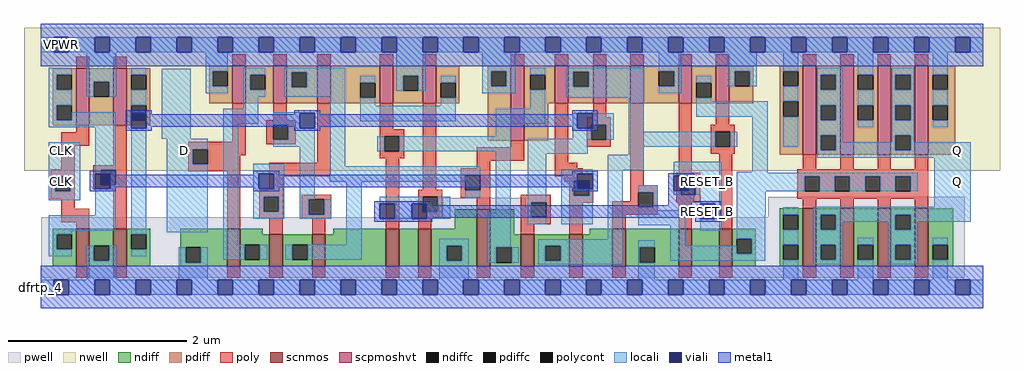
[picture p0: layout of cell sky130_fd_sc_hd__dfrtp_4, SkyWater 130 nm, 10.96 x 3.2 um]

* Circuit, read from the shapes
.subckt sky130_fd_sc_hd__dfrtp_4 VGND VPWR VPB VNB CLK D RESET_B Q
XM1 VGND CLK n1 VNB sky130_fd_pr__nfet_01v8 w=0.42 l=0.15
XM2 n2 n1 VGND VNB sky130_fd_pr__nfet_01v8 w=0.42 l=0.15
XM3 n3 D VGND VNB sky130_fd_pr__nfet_01v8 w=0.42 l=0.15
XM4 n4 n1 n3 VNB sky130_fd_pr__nfet_01v8 w=0.36 l=0.15
XM5 n5 n2 n4 VNB sky130_fd_pr__nfet_01v8 w=0.36 l=0.15
XM6 n6 n7 n5 VNB sky130_fd_pr__nfet_01v8 w=0.42 l=0.15
XM7 VGND RESET_B n6 VNB sky130_fd_pr__nfet_01v8 w=0.42 l=0.15
XM8 n7 n4 VGND VNB sky130_fd_pr__nfet_01v8 w=0.64 l=0.15
XM9 n8 n2 n7 VNB sky130_fd_pr__nfet_01v8 w=0.36 l=0.15
XM10 n9 n1 n8 VNB sky130_fd_pr__nfet_01v8 w=0.36 l=0.15
XM11 VGND n10 n9 VNB sky130_fd_pr__nfet_01v8 w=0.42 l=0.15
XM12 n11 RESET_B VGND VNB sky130_fd_pr__nfet_01v8 w=0.42 l=0.15
XM13 n10 n8 n11 VNB sky130_fd_pr__nfet_01v8 w=0.42 l=0.15
XM14 Q n10 VGND VNB sky130_fd_pr__nfet_01v8 w=0.65 l=0.15 m=4
XM15 VPWR CLK n1 VPB sky130_fd_pr__pfet_01v8_hvt w=0.64 l=0.15
XM16 n2 n1 VPWR VPB sky130_fd_pr__pfet_01v8_hvt w=0.64 l=0.15
XM17 n3 D VPWR VPB sky130_fd_pr__pfet_01v8_hvt w=0.42 l=0.15
XM18 n4 n2 n3 VPB sky130_fd_pr__pfet_01v8_hvt w=0.42 l=0.15
XM19 n12 n1 n4 VPB sky130_fd_pr__pfet_01v8_hvt w=0.42 l=0.15
XM20 VPWR n7 n12 VPB sky130_fd_pr__pfet_01v8_hvt w=0.42 l=0.15
XM21 n12 RESET_B VPWR VPB sky130_fd_pr__pfet_01v8_hvt w=0.42 l=0.15
XM22 n7 n4 VPWR VPB sky130_fd_pr__pfet_01v8_hvt w=0.84 l=0.15
XM23 n8 n1 n7 VPB sky130_fd_pr__pfet_01v8_hvt w=0.42 l=0.15
XM24 n13 n2 n8 VPB sky130_fd_pr__pfet_01v8_hvt w=0.42 l=0.15
XM25 VPWR n10 n13 VPB sky130_fd_pr__pfet_01v8_hvt w=0.42 l=0.15
XM26 n10 RESET_B VPWR VPB sky130_fd_pr__pfet_01v8_hvt w=0.42 l=0.15
XM27 VPWR n8 n10 VPB sky130_fd_pr__pfet_01v8_hvt w=0.42 l=0.15
XM28 Q n10 VPWR VPB sky130_fd_pr__pfet_01v8_hvt w=1 l=0.15 m=4
.ends

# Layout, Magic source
magic
tech sky130B
magscale 1 2
<< nwell >>
rect -38 221 2154 542
<< pwell >>
rect 903 117 1089 161
rect 1633 117 2075 163
rect 1 -19 2075 117
rect 29 -57 63 -19
<< scnmos >>
rect 79 7 109 91
rect 163 7 193 91
rect 418 7 448 91
rect 513 7 543 79
rect 609 7 639 79
rect 775 7 805 91
rect 847 7 877 91
rect 979 7 1009 135
rect 1078 7 1108 79
rect 1187 7 1217 79
rect 1283 7 1313 91
rect 1432 7 1462 91
rect 1523 7 1553 91
rect 1711 7 1741 137
rect 1795 7 1825 137
rect 1879 7 1909 137
rect 1963 7 1993 137
<< scpmoshvt >>
rect 79 323 109 451
rect 163 323 193 451
rect 430 373 460 457
rect 522 373 552 457
rect 621 373 651 457
rect 761 373 791 457
rect 858 373 888 457
rect 1055 289 1085 457
rect 1154 373 1184 457
rect 1240 373 1270 457
rect 1324 373 1354 457
rect 1432 373 1462 457
rect 1516 373 1546 457
rect 1711 257 1741 457
rect 1795 257 1825 457
rect 1879 257 1909 457
rect 1963 257 1993 457
<< ndiff >>
rect 27 79 79 91
rect 27 45 35 79
rect 69 45 79 79
rect 27 7 79 45
rect 109 53 163 91
rect 109 19 119 53
rect 153 19 163 53
rect 109 7 163 19
rect 193 79 245 91
rect 193 45 203 79
rect 237 45 245 79
rect 193 7 245 45
rect 313 49 418 91
rect 313 15 325 49
rect 359 15 418 49
rect 313 7 418 15
rect 448 79 498 91
rect 929 91 979 135
rect 657 79 775 91
rect 448 55 513 79
rect 448 21 458 55
rect 492 21 513 55
rect 448 7 513 21
rect 543 55 609 79
rect 543 21 565 55
rect 599 21 609 55
rect 543 7 609 21
rect 639 7 775 79
rect 805 7 847 91
rect 877 53 979 91
rect 877 19 911 53
rect 945 19 979 53
rect 877 7 979 19
rect 1009 79 1063 135
rect 1659 123 1711 137
rect 1233 79 1283 91
rect 1009 49 1078 79
rect 1009 15 1023 49
rect 1057 15 1078 49
rect 1009 7 1078 15
rect 1108 53 1187 79
rect 1108 19 1133 53
rect 1167 19 1187 53
rect 1108 7 1187 19
rect 1217 7 1283 79
rect 1313 49 1432 91
rect 1313 15 1345 49
rect 1379 15 1432 49
rect 1313 7 1432 15
rect 1462 7 1523 91
rect 1553 69 1605 91
rect 1553 35 1563 69
rect 1597 35 1605 69
rect 1553 7 1605 35
rect 1659 89 1667 123
rect 1701 89 1711 123
rect 1659 55 1711 89
rect 1659 21 1667 55
rect 1701 21 1711 55
rect 1659 7 1711 21
rect 1741 123 1795 137
rect 1741 89 1751 123
rect 1785 89 1795 123
rect 1741 55 1795 89
rect 1741 21 1751 55
rect 1785 21 1795 55
rect 1741 7 1795 21
rect 1825 55 1879 137
rect 1825 21 1835 55
rect 1869 21 1879 55
rect 1825 7 1879 21
rect 1909 123 1963 137
rect 1909 89 1919 123
rect 1953 89 1963 123
rect 1909 55 1963 89
rect 1909 21 1919 55
rect 1953 21 1963 55
rect 1909 7 1963 21
rect 1993 55 2049 137
rect 1993 21 2003 55
rect 2037 21 2049 55
rect 1993 7 2049 21
<< pdiff >>
rect 27 437 79 451
rect 27 403 35 437
rect 69 403 79 437
rect 27 369 79 403
rect 27 335 35 369
rect 69 335 79 369
rect 27 323 79 335
rect 109 421 163 451
rect 109 387 119 421
rect 153 387 163 421
rect 109 323 163 387
rect 193 437 245 451
rect 193 403 203 437
rect 237 403 245 437
rect 193 369 245 403
rect 378 445 430 457
rect 378 411 386 445
rect 420 411 430 445
rect 378 373 430 411
rect 460 437 522 457
rect 460 403 470 437
rect 504 403 522 437
rect 460 373 522 403
rect 552 443 621 457
rect 552 409 563 443
rect 597 409 621 443
rect 552 373 621 409
rect 651 419 761 457
rect 651 385 717 419
rect 751 385 761 419
rect 651 373 761 385
rect 791 435 858 457
rect 791 401 814 435
rect 848 401 858 435
rect 791 373 858 401
rect 888 419 940 457
rect 888 385 898 419
rect 932 385 940 419
rect 888 373 940 385
rect 1003 445 1055 457
rect 1003 411 1011 445
rect 1045 411 1055 445
rect 193 335 203 369
rect 237 335 245 369
rect 193 323 245 335
rect 1003 289 1055 411
rect 1085 437 1154 457
rect 1085 403 1099 437
rect 1133 403 1154 437
rect 1085 373 1154 403
rect 1184 444 1240 457
rect 1184 410 1196 444
rect 1230 410 1240 444
rect 1184 373 1240 410
rect 1270 373 1324 457
rect 1354 445 1432 457
rect 1354 411 1388 445
rect 1422 411 1432 445
rect 1354 373 1432 411
rect 1462 419 1516 457
rect 1462 385 1472 419
rect 1506 385 1516 419
rect 1462 373 1516 385
rect 1546 445 1600 457
rect 1546 411 1558 445
rect 1592 411 1600 445
rect 1546 373 1600 411
rect 1659 445 1711 457
rect 1659 411 1667 445
rect 1701 411 1711 445
rect 1659 377 1711 411
rect 1085 289 1139 373
rect 1659 343 1667 377
rect 1701 343 1711 377
rect 1659 257 1711 343
rect 1741 437 1795 457
rect 1741 403 1751 437
rect 1785 403 1795 437
rect 1741 369 1795 403
rect 1741 335 1751 369
rect 1785 335 1795 369
rect 1741 301 1795 335
rect 1741 267 1751 301
rect 1785 267 1795 301
rect 1741 257 1795 267
rect 1825 437 1879 457
rect 1825 403 1835 437
rect 1869 403 1879 437
rect 1825 369 1879 403
rect 1825 335 1835 369
rect 1869 335 1879 369
rect 1825 257 1879 335
rect 1909 437 1963 457
rect 1909 403 1919 437
rect 1953 403 1963 437
rect 1909 369 1963 403
rect 1909 335 1919 369
rect 1953 335 1963 369
rect 1909 301 1963 335
rect 1909 267 1919 301
rect 1953 267 1963 301
rect 1909 257 1963 267
rect 1993 437 2054 457
rect 1993 403 2003 437
rect 2037 403 2054 437
rect 1993 369 2054 403
rect 1993 335 2003 369
rect 2037 335 2054 369
rect 1993 257 2054 335
<< ndiffc >>
rect 35 45 69 79
rect 119 19 153 53
rect 203 45 237 79
rect 325 15 359 49
rect 458 21 492 55
rect 565 21 599 55
rect 911 19 945 53
rect 1023 15 1057 49
rect 1133 19 1167 53
rect 1345 15 1379 49
rect 1563 35 1597 69
rect 1667 89 1701 123
rect 1667 21 1701 55
rect 1751 89 1785 123
rect 1751 21 1785 55
rect 1835 21 1869 55
rect 1919 89 1953 123
rect 1919 21 1953 55
rect 2003 21 2037 55
<< pdiffc >>
rect 35 403 69 437
rect 35 335 69 369
rect 119 387 153 421
rect 203 403 237 437
rect 386 411 420 445
rect 470 403 504 437
rect 563 409 597 443
rect 717 385 751 419
rect 814 401 848 435
rect 898 385 932 419
rect 1011 411 1045 445
rect 203 335 237 369
rect 1099 403 1133 437
rect 1196 410 1230 444
rect 1388 411 1422 445
rect 1472 385 1506 419
rect 1558 411 1592 445
rect 1667 411 1701 445
rect 1667 343 1701 377
rect 1751 403 1785 437
rect 1751 335 1785 369
rect 1751 267 1785 301
rect 1835 403 1869 437
rect 1835 335 1869 369
rect 1919 403 1953 437
rect 1919 335 1953 369
rect 1919 267 1953 301
rect 2003 403 2037 437
rect 2003 335 2037 369
<< poly >>
rect 79 451 109 477
rect 163 451 193 477
rect 430 457 460 483
rect 522 457 552 483
rect 621 457 651 483
rect 761 457 791 483
rect 858 457 888 483
rect 1055 457 1085 483
rect 1154 457 1184 483
rect 1240 457 1270 483
rect 1324 457 1354 483
rect 1432 457 1462 483
rect 1516 457 1546 483
rect 1711 457 1741 483
rect 1795 457 1825 483
rect 1879 457 1909 483
rect 1963 457 1993 483
rect 79 308 109 323
rect 46 278 109 308
rect 46 225 76 278
rect 163 234 193 323
rect 430 286 460 373
rect 522 335 552 373
rect 22 209 76 225
rect 22 175 32 209
rect 66 175 76 209
rect 118 224 193 234
rect 118 190 134 224
rect 168 190 193 224
rect 331 270 460 286
rect 506 325 572 335
rect 506 291 522 325
rect 556 291 572 325
rect 506 281 572 291
rect 331 236 341 270
rect 375 256 460 270
rect 375 236 448 256
rect 621 239 651 373
rect 761 315 791 373
rect 761 299 816 315
rect 761 265 771 299
rect 805 265 816 299
rect 761 249 816 265
rect 331 220 448 236
rect 118 180 193 190
rect 22 159 76 175
rect 46 136 76 159
rect 46 106 109 136
rect 79 91 109 106
rect 163 91 193 180
rect 418 91 448 220
rect 513 209 651 239
rect 513 179 544 209
rect 490 163 544 179
rect 490 129 500 163
rect 534 129 544 163
rect 490 113 544 129
rect 586 157 652 167
rect 586 123 602 157
rect 636 123 652 157
rect 586 113 652 123
rect 513 79 543 113
rect 609 79 639 113
rect 775 91 805 249
rect 858 179 888 373
rect 1055 274 1085 289
rect 979 244 1085 274
rect 979 227 1009 244
rect 943 211 1009 227
rect 847 163 901 179
rect 847 129 857 163
rect 891 129 901 163
rect 943 177 953 211
rect 987 177 1009 211
rect 1154 239 1184 373
rect 1240 341 1270 373
rect 1226 325 1280 341
rect 1226 291 1236 325
rect 1270 291 1280 325
rect 1226 275 1280 291
rect 1154 227 1204 239
rect 1154 215 1217 227
rect 1154 209 1241 215
rect 1175 199 1241 209
rect 1175 197 1197 199
rect 943 161 1009 177
rect 979 135 1009 161
rect 1078 151 1145 167
rect 847 113 901 129
rect 847 91 877 113
rect 1078 117 1101 151
rect 1135 117 1145 151
rect 1078 101 1145 117
rect 1187 165 1197 197
rect 1231 165 1241 199
rect 1187 149 1241 165
rect 1324 189 1354 373
rect 1432 217 1462 373
rect 1516 325 1546 373
rect 1504 309 1558 325
rect 1504 275 1514 309
rect 1548 275 1558 309
rect 1504 259 1558 275
rect 1427 201 1481 217
rect 1324 173 1385 189
rect 1324 153 1341 173
rect 1078 79 1108 101
rect 1187 79 1217 149
rect 1283 139 1341 153
rect 1375 139 1385 173
rect 1427 167 1437 201
rect 1471 167 1481 201
rect 1427 151 1481 167
rect 1283 123 1385 139
rect 1283 91 1313 123
rect 1432 91 1462 151
rect 1523 91 1553 259
rect 1711 225 1741 257
rect 1795 225 1825 257
rect 1879 225 1909 257
rect 1963 225 1993 257
rect 1699 209 1993 225
rect 1699 175 1715 209
rect 1749 175 1783 209
rect 1817 175 1851 209
rect 1885 175 1919 209
rect 1953 175 1993 209
rect 1699 159 1993 175
rect 1711 137 1741 159
rect 1795 137 1825 159
rect 1879 137 1909 159
rect 1963 137 1993 159
rect 79 -19 109 7
rect 163 -19 193 7
rect 418 -19 448 7
rect 513 -19 543 7
rect 609 -19 639 7
rect 775 -19 805 7
rect 847 -19 877 7
rect 979 -19 1009 7
rect 1078 -19 1108 7
rect 1187 -19 1217 7
rect 1283 -19 1313 7
rect 1432 -19 1462 7
rect 1523 -19 1553 7
rect 1711 -19 1741 7
rect 1795 -19 1825 7
rect 1879 -19 1909 7
rect 1963 -19 1993 7
<< polycont >>
rect 32 175 66 209
rect 134 190 168 224
rect 522 291 556 325
rect 341 236 375 270
rect 771 265 805 299
rect 500 129 534 163
rect 602 123 636 157
rect 857 129 891 163
rect 953 177 987 211
rect 1236 291 1270 325
rect 1101 117 1135 151
rect 1197 165 1231 199
rect 1514 275 1548 309
rect 1341 139 1375 173
rect 1437 167 1471 201
rect 1715 175 1749 209
rect 1783 175 1817 209
rect 1851 175 1885 209
rect 1919 175 1953 209
<< locali >>
rect 0 487 29 521
rect 63 487 121 521
rect 155 487 213 521
rect 247 487 305 521
rect 339 487 397 521
rect 431 487 489 521
rect 523 487 581 521
rect 615 487 673 521
rect 707 487 765 521
rect 799 487 857 521
rect 891 487 949 521
rect 983 487 1041 521
rect 1075 487 1133 521
rect 1167 487 1225 521
rect 1259 487 1317 521
rect 1351 487 1409 521
rect 1443 487 1501 521
rect 1535 487 1593 521
rect 1627 487 1685 521
rect 1719 487 1777 521
rect 1811 487 1869 521
rect 1903 487 1961 521
rect 1995 487 2053 521
rect 2087 487 2116 521
rect 18 437 69 453
rect 18 403 35 437
rect 18 369 69 403
rect 103 421 169 487
rect 103 387 119 421
rect 153 387 169 421
rect 203 437 237 453
rect 18 335 35 369
rect 203 369 237 403
rect 69 335 168 353
rect 18 319 168 335
rect 18 209 88 285
rect 18 175 32 209
rect 66 175 88 209
rect 18 155 88 175
rect 122 224 168 319
rect 122 215 134 224
rect 156 181 168 190
rect 122 121 168 181
rect 18 87 168 121
rect 18 79 69 87
rect 18 45 35 79
rect 203 79 237 317
rect 271 293 336 450
rect 370 445 420 487
rect 370 411 386 445
rect 370 395 420 411
rect 454 437 504 453
rect 454 403 470 437
rect 454 387 504 403
rect 547 443 683 453
rect 547 409 563 443
rect 597 409 683 443
rect 798 435 864 487
rect 991 445 1065 487
rect 547 387 683 409
rect 454 361 488 387
rect 409 327 488 361
rect 522 351 615 353
rect 283 270 375 293
rect 283 236 341 270
rect 283 83 375 236
rect 18 29 69 45
rect 103 19 119 53
rect 153 19 169 53
rect 409 55 443 327
rect 522 325 581 351
rect 556 317 581 325
rect 556 291 615 317
rect 522 275 615 291
rect 477 215 547 237
rect 477 181 489 215
rect 523 181 547 215
rect 477 163 547 181
rect 477 129 500 163
rect 534 129 547 163
rect 477 113 547 129
rect 581 157 615 275
rect 649 231 683 387
rect 717 419 751 435
rect 798 401 814 435
rect 848 401 864 435
rect 898 419 932 435
rect 717 367 751 385
rect 991 411 1011 445
rect 1045 411 1065 445
rect 991 395 1065 411
rect 1099 437 1133 453
rect 898 367 932 385
rect 717 333 932 367
rect 1099 361 1133 403
rect 1180 444 1354 453
rect 1180 410 1196 444
rect 1230 410 1354 444
rect 1180 385 1354 410
rect 1388 445 1438 487
rect 1422 411 1438 445
rect 1542 445 1608 487
rect 1388 395 1438 411
rect 1472 419 1506 435
rect 1021 327 1133 361
rect 1021 299 1055 327
rect 755 265 771 299
rect 805 265 1055 299
rect 1194 317 1205 351
rect 1239 325 1286 351
rect 1194 293 1236 317
rect 649 211 987 231
rect 649 197 953 211
rect 581 123 602 157
rect 636 123 652 157
rect 581 113 652 123
rect 686 55 720 197
rect 761 147 857 163
rect 795 113 833 147
rect 891 129 919 163
rect 953 161 987 177
rect 867 113 919 129
rect 1021 127 1055 265
rect 203 29 237 45
rect 103 -23 169 19
rect 309 15 325 49
rect 359 15 375 49
rect 409 21 458 55
rect 492 21 508 55
rect 549 21 565 55
rect 599 21 720 55
rect 895 53 961 69
rect 309 -23 375 15
rect 895 19 911 53
rect 945 19 961 53
rect 895 -23 961 19
rect 1003 49 1055 127
rect 1093 291 1236 293
rect 1270 291 1286 325
rect 1320 309 1354 385
rect 1542 411 1558 445
rect 1592 411 1608 445
rect 1667 445 1701 487
rect 1472 377 1506 385
rect 1667 377 1701 411
rect 1472 343 1632 377
rect 1093 259 1228 291
rect 1320 275 1514 309
rect 1548 275 1564 309
rect 1093 151 1135 259
rect 1320 257 1354 275
rect 1093 117 1101 151
rect 1093 101 1135 117
rect 1169 215 1239 225
rect 1169 199 1205 215
rect 1169 165 1197 199
rect 1231 165 1239 181
rect 1169 101 1239 165
rect 1273 223 1354 257
rect 1273 67 1307 223
rect 1421 210 1529 241
rect 1598 219 1632 343
rect 1667 275 1701 343
rect 1743 437 1801 453
rect 1743 403 1751 437
rect 1785 403 1801 437
rect 1743 369 1801 403
rect 1743 335 1751 369
rect 1785 335 1801 369
rect 1743 301 1801 335
rect 1835 437 1869 487
rect 1835 369 1869 403
rect 1835 319 1869 335
rect 1911 437 1961 453
rect 1911 403 1919 437
rect 1953 403 1961 437
rect 1911 369 1961 403
rect 1911 335 1919 369
rect 1953 335 1961 369
rect 1743 267 1751 301
rect 1785 285 1801 301
rect 1911 301 1961 335
rect 2003 437 2037 487
rect 2003 369 2037 403
rect 2003 319 2037 335
rect 1911 285 1919 301
rect 1785 267 1919 285
rect 1953 285 1961 301
rect 1953 267 2088 285
rect 1743 251 2088 267
rect 1455 201 1529 210
rect 1341 173 1385 189
rect 1375 139 1385 173
rect 1421 167 1437 176
rect 1471 167 1529 201
rect 1341 133 1385 139
rect 1481 147 1529 167
rect 1341 99 1447 133
rect 1117 53 1307 67
rect 1003 15 1023 49
rect 1057 15 1073 49
rect 1117 19 1133 53
rect 1167 19 1307 53
rect 1117 11 1307 19
rect 1341 49 1379 65
rect 1341 15 1345 49
rect 1413 53 1447 99
rect 1515 113 1529 147
rect 1481 87 1529 113
rect 1563 217 1632 219
rect 1563 209 1969 217
rect 1563 175 1715 209
rect 1749 175 1783 209
rect 1817 175 1851 209
rect 1885 175 1919 209
rect 1953 175 1969 209
rect 1563 124 1628 175
rect 2006 141 2088 251
rect 1563 69 1627 124
rect 1413 35 1563 53
rect 1597 35 1627 69
rect 1413 19 1627 35
rect 1667 123 1701 139
rect 1667 55 1701 89
rect 1341 -23 1379 15
rect 1667 -23 1701 21
rect 1735 123 2088 141
rect 1735 89 1751 123
rect 1785 107 1919 123
rect 1785 89 1801 107
rect 1735 55 1801 89
rect 1903 89 1919 107
rect 1953 107 2088 123
rect 1953 89 1969 107
rect 1735 21 1751 55
rect 1785 21 1801 55
rect 1735 11 1801 21
rect 1835 55 1869 71
rect 1835 -23 1869 21
rect 1903 55 1969 89
rect 1903 21 1919 55
rect 1953 21 1969 55
rect 1903 11 1969 21
rect 2003 55 2037 71
rect 2003 -23 2037 21
rect 0 -57 29 -23
rect 63 -57 121 -23
rect 155 -57 213 -23
rect 247 -57 305 -23
rect 339 -57 397 -23
rect 431 -57 489 -23
rect 523 -57 581 -23
rect 615 -57 673 -23
rect 707 -57 765 -23
rect 799 -57 857 -23
rect 891 -57 949 -23
rect 983 -57 1041 -23
rect 1075 -57 1133 -23
rect 1167 -57 1225 -23
rect 1259 -57 1317 -23
rect 1351 -57 1409 -23
rect 1443 -57 1501 -23
rect 1535 -57 1593 -23
rect 1627 -57 1685 -23
rect 1719 -57 1777 -23
rect 1811 -57 1869 -23
rect 1903 -57 1961 -23
rect 1995 -57 2053 -23
rect 2087 -57 2116 -23
<< viali >>
rect 29 487 63 521
rect 121 487 155 521
rect 213 487 247 521
rect 305 487 339 521
rect 397 487 431 521
rect 489 487 523 521
rect 581 487 615 521
rect 673 487 707 521
rect 765 487 799 521
rect 857 487 891 521
rect 949 487 983 521
rect 1041 487 1075 521
rect 1133 487 1167 521
rect 1225 487 1259 521
rect 1317 487 1351 521
rect 1409 487 1443 521
rect 1501 487 1535 521
rect 1593 487 1627 521
rect 1685 487 1719 521
rect 1777 487 1811 521
rect 1869 487 1903 521
rect 1961 487 1995 521
rect 2053 487 2087 521
rect 122 190 134 215
rect 134 190 156 215
rect 122 181 156 190
rect 203 335 237 351
rect 203 317 237 335
rect 581 317 615 351
rect 489 181 523 215
rect 1205 325 1239 351
rect 1205 317 1236 325
rect 1236 317 1239 325
rect 761 113 795 147
rect 833 129 857 147
rect 857 129 867 147
rect 833 113 867 129
rect 1205 199 1239 215
rect 1205 181 1231 199
rect 1231 181 1239 199
rect 1421 201 1455 210
rect 1421 176 1437 201
rect 1437 176 1455 201
rect 1481 113 1515 147
rect 29 -57 63 -23
rect 121 -57 155 -23
rect 213 -57 247 -23
rect 305 -57 339 -23
rect 397 -57 431 -23
rect 489 -57 523 -23
rect 581 -57 615 -23
rect 673 -57 707 -23
rect 765 -57 799 -23
rect 857 -57 891 -23
rect 949 -57 983 -23
rect 1041 -57 1075 -23
rect 1133 -57 1167 -23
rect 1225 -57 1259 -23
rect 1317 -57 1351 -23
rect 1409 -57 1443 -23
rect 1501 -57 1535 -23
rect 1593 -57 1627 -23
rect 1685 -57 1719 -23
rect 1777 -57 1811 -23
rect 1869 -57 1903 -23
rect 1961 -57 1995 -23
rect 2053 -57 2087 -23
<< metal1 >>
rect 0 521 2116 552
rect 0 487 29 521
rect 63 487 121 521
rect 155 487 213 521
rect 247 487 305 521
rect 339 487 397 521
rect 431 487 489 521
rect 523 487 581 521
rect 615 487 673 521
rect 707 487 765 521
rect 799 487 857 521
rect 891 487 949 521
rect 983 487 1041 521
rect 1075 487 1133 521
rect 1167 487 1225 521
rect 1259 487 1317 521
rect 1351 487 1409 521
rect 1443 487 1501 521
rect 1535 487 1593 521
rect 1627 487 1685 521
rect 1719 487 1777 521
rect 1811 487 1869 521
rect 1903 487 1961 521
rect 1995 487 2053 521
rect 2087 487 2116 521
rect 0 456 2116 487
rect 191 351 249 357
rect 191 317 203 351
rect 237 348 249 351
rect 569 351 627 357
rect 569 348 581 351
rect 237 320 581 348
rect 237 317 249 320
rect 191 311 249 317
rect 569 317 581 320
rect 615 348 627 351
rect 1193 351 1251 357
rect 1193 348 1205 351
rect 615 320 1205 348
rect 615 317 627 320
rect 569 311 627 317
rect 1193 317 1205 320
rect 1239 317 1251 351
rect 1193 311 1251 317
rect 110 215 168 221
rect 110 181 122 215
rect 156 212 168 215
rect 477 215 535 221
rect 477 212 489 215
rect 156 184 489 212
rect 156 181 168 184
rect 110 175 168 181
rect 477 181 489 184
rect 523 212 535 215
rect 1193 215 1251 221
rect 1193 212 1205 215
rect 523 184 1205 212
rect 523 181 535 184
rect 477 175 535 181
rect 1193 181 1205 184
rect 1239 181 1251 215
rect 1193 175 1251 181
rect 1409 210 1467 216
rect 1409 176 1421 210
rect 1455 176 1467 210
rect 1409 153 1467 176
rect 749 147 879 153
rect 749 113 761 147
rect 795 113 833 147
rect 867 144 879 147
rect 1409 147 1527 153
rect 1409 144 1481 147
rect 867 116 1481 144
rect 867 113 879 116
rect 749 107 879 113
rect 1469 113 1481 116
rect 1515 113 1527 147
rect 1469 107 1527 113
rect 0 -23 2116 8
rect 0 -57 29 -23
rect 63 -57 121 -23
rect 155 -57 213 -23
rect 247 -57 305 -23
rect 339 -57 397 -23
rect 431 -57 489 -23
rect 523 -57 581 -23
rect 615 -57 673 -23
rect 707 -57 765 -23
rect 799 -57 857 -23
rect 891 -57 949 -23
rect 983 -57 1041 -23
rect 1075 -57 1133 -23
rect 1167 -57 1225 -23
rect 1259 -57 1317 -23
rect 1351 -57 1409 -23
rect 1443 -57 1501 -23
rect 1535 -57 1593 -23
rect 1627 -57 1685 -23
rect 1719 -57 1777 -23
rect 1811 -57 1869 -23
rect 1903 -57 1961 -23
rect 1995 -57 2053 -23
rect 2087 -57 2116 -23
rect 0 -88 2116 -57
<< labels >>
rlabel comment s 0 -40 0 -40 4 dfrtp_4
flabel metal1 s 29 -57 63 -23 0 FreeSans 200 0 0 0 VGND
port 2 nsew
flabel metal1 s 29 487 63 521 0 FreeSans 200 0 0 0 VPWR
port 3 nsew
flabel nwell s 29 487 63 521 0 FreeSans 200 0 0 0 VPB
port 5 nsew
flabel pwell s 29 -57 63 -23 0 FreeSans 200 0 0 0 VNB
port 6 nsew
flabel locali s 2042 181 2076 215 0 FreeSans 400 0 0 0 Q
port 11 nsew
flabel locali s 2042 249 2076 283 0 FreeSans 400 0 0 0 Q
port 11 nsew
flabel locali s 1481 113 1515 147 0 FreeSans 400 0 0 0 RESET_B
port 9 nsew
flabel locali s 305 249 339 283 0 FreeSans 400 0 0 0 D
port 8 nsew
flabel locali s 30 249 64 283 0 FreeSans 400 0 0 0 CLK
port 7 nsew
flabel locali s 30 181 64 215 0 FreeSans 400 0 0 0 CLK
port 7 nsew
flabel locali s 1481 181 1515 215 0 FreeSans 400 0 0 0 RESET_B
port 9 nsew
<< properties >>
string FIXED_BBOX 0 -40 2116 504
string path 48.300 12.600 50.600 12.600 
<< end >>
